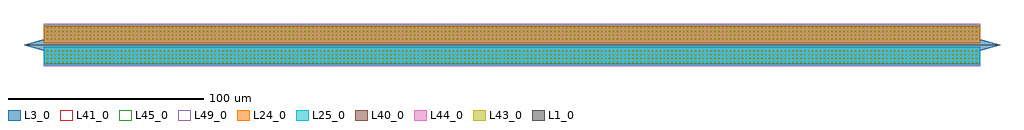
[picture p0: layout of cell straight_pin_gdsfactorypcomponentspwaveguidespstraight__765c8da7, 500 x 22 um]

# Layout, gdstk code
from math import pi, radians
import gdstk
lib = gdstk.Library(unit=1e-6, precision=1e-09)
def R(c, l, rs):  # rectangles x0, y0, x1, y1
    for r in rs: c.add(gdstk.rectangle(r[:2], r[2:], *l))
def P(c, l, *ps):  # polygons
    for p in ps: c.add(gdstk.Polygon(p, *l))
L1_0 = (1, 0)
L3_0 = (3, 0)
L24_0 = (24, 0)
L25_0 = (25, 0)
L40_0 = (40, 0)
L41_0 = (41, 0)
L43_0 = (43, 0)
L44_0 = (44, 0)
L45_0 = (45, 0)
L49_0 = (49, 0)

straight_gdsfactorypcomp = lib.new_cell('straight_gdsfactorypcomponentspwaveguidespstraight_L480_0775fb2d')
R(straight_gdsfactorypcomp, L1_0, [(0,-0.25,480,0.25)])
R(straight_gdsfactorypcomp, L3_0, [(0,-10,480,10)])
R(straight_gdsfactorypcomp, L24_0, [(0,0.8,480,9.8)])
R(straight_gdsfactorypcomp, L25_0, [(0,-9.8,480,-0.8)])

taper_strip_to_ridge_gds = lib.new_cell('taper_strip_to_ridge_gdsfactorypcomponentsptapersptaper_eb2ac5f7')
R(taper_strip_to_ridge_gds, L1_0, [(0,-0.25,10,0.25)])
P(taper_strip_to_ridge_gds, L3_0, [(10,-3),(0,-0.075),(0,0.075),(10,3)])

compass_gdsfactorypcompo = lib.new_cell('compass_gdsfactorypcomponentspshapespcompass_S480_10_LS_703b2ed8')
R(compass_gdsfactorypcompo, L3_0, [(-240,-5,240,5)])

c_compass_gdsfactorypcompo = lib.new_cell('compass_gdsfactorypcomponentspshapespcompass_S480_10_LM_6577179f')
R(c_compass_gdsfactorypcompo, L41_0, [(-240,-5,240,5)])

c_compass_gdsfactorypcompo_ = lib.new_cell('compass_gdsfactorypcomponentspshapespcompass_S480_10_LM_bf63c414')
R(c_compass_gdsfactorypcompo_, L45_0, [(-240,-5,240,5)])

c_compass_gdsfactorypcompo__ = lib.new_cell('compass_gdsfactorypcomponentspshapespcompass_S480_10_LM_9d45dd62')
R(c_compass_gdsfactorypcompo__, L49_0, [(-240,-5,240,5)])

via_gdsfactorypcomponent = lib.new_cell('via_gdsfactorypcomponentspviaspvia_S0p7_0p7_E1_LVIAC_BL_572539c8')
R(via_gdsfactorypcomponent, L40_0, [(-0.35,-0.35,0.35,0.35)])

c_via_gdsfactorypcomponent = lib.new_cell('via_gdsfactorypcomponentspviaspvia_S0p7_0p7_E1_LVIA1_BL_0068d91e')
R(c_via_gdsfactorypcomponent, L44_0, [(-0.35,-0.35,0.35,0.35)])

c_via_gdsfactorypcomponent_ = lib.new_cell('via_gdsfactorypcomponentspviaspvia_S0p7_0p7_E1_LVIA2_BL_c51b5ebb')
R(c_via_gdsfactorypcomponent_, L43_0, [(-0.35,-0.35,0.35,0.35)])

via_stack_gdsfactorypcom = lib.new_cell('via_stack_gdsfactorypcomponentspviaspvia_stack_S480_10__b3282c8d')
via_stack_gdsfactorypcom.add(gdstk.Reference(compass_gdsfactorypcompo, (0,0)))
via_stack_gdsfactorypcom.add(gdstk.Reference(c_compass_gdsfactorypcompo, (0,0)))
via_stack_gdsfactorypcom.add(gdstk.Reference(c_compass_gdsfactorypcompo_, (0,0)))
via_stack_gdsfactorypcom.add(gdstk.Reference(c_compass_gdsfactorypcompo__, (0,0)))
r = gdstk.Reference(via_gdsfactorypcomponent, (-238,-3)); r.repetition = gdstk.Repetition(239, 4, v1=(2,0), v2=(0,2)); via_stack_gdsfactorypcom.add(r)
r = gdstk.Reference(c_via_gdsfactorypcomponent, (-238,-3)); r.repetition = gdstk.Repetition(239, 4, v1=(2,0), v2=(0,2)); via_stack_gdsfactorypcom.add(r)
r = gdstk.Reference(c_via_gdsfactorypcomponent_, (-238,-3)); r.repetition = gdstk.Repetition(239, 4, v1=(2,0), v2=(0,2)); via_stack_gdsfactorypcom.add(r)

straight_pin_gdsfactoryp = lib.new_cell('straight_pin_gdsfactorypcomponentspwaveguidespstraight__765c8da7')
straight_pin_gdsfactoryp.add(gdstk.Reference(straight_gdsfactorypcomp, (0,0)))
straight_pin_gdsfactoryp.add(gdstk.Reference(taper_strip_to_ridge_gds, (-10,0)))
straight_pin_gdsfactoryp.add(gdstk.Reference(taper_strip_to_ridge_gds, (490,0), rotation=pi))
straight_pin_gdsfactoryp.add(gdstk.Reference(via_stack_gdsfactorypcom, (240,6)))
straight_pin_gdsfactoryp.add(gdstk.Reference(via_stack_gdsfactorypcom, (240,-6)))

lib.write_gds('straight_pin_gdsfactorypcomponentspwaveguidespstraight__765c8da7.gds')
